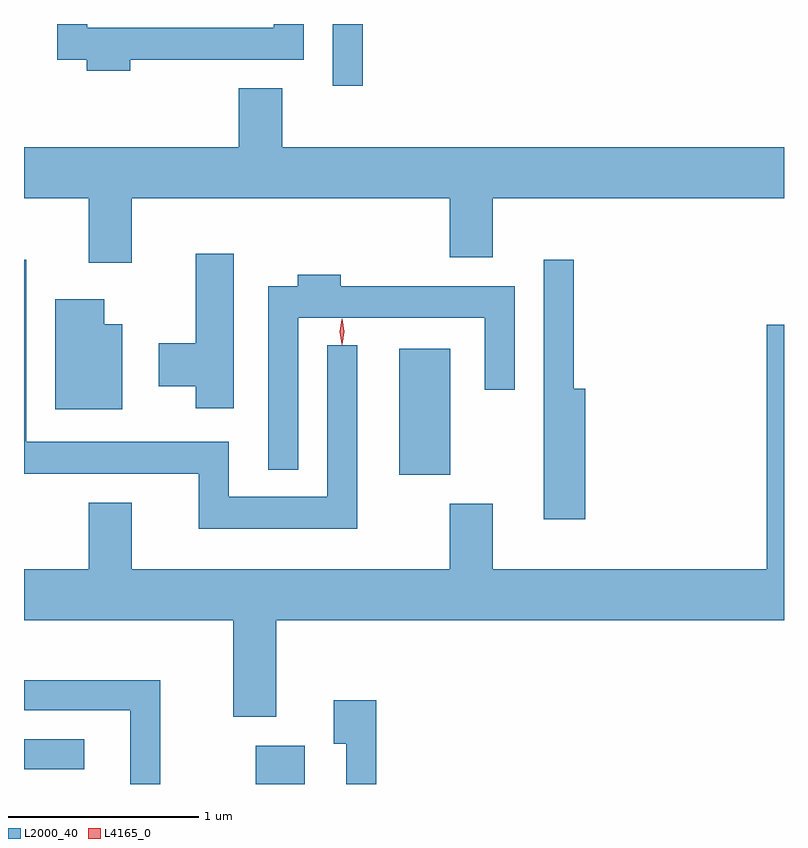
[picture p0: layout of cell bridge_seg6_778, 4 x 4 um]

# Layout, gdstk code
import gdstk
lib = gdstk.Library(unit=1e-6, precision=1e-09)
def R(c, l, rs):  # rectangles x0, y0, x1, y1
    for r in rs: c.add(gdstk.rectangle(r[:2], r[2:], *l))
def P(c, l, *ps):  # polygons
    for p in ps: c.add(gdstk.Polygon(p, *l))
L2000_40 = (2000, 40)
L4165_0 = (4165, 0)

bridge_seg6_778 = lib.new_cell('bridge_seg6_778')
R(bridge_seg6_778, L2000_40, [(549.721,1589.133,549.979,1589.334), (548.501,1589.211,548.818,1589.369), (550.476,1590.761,550.744,1591.424), (550.126,1592.808,550.284,1593.133)])
P(bridge_seg6_778, L2000_40, [(549.059,1592.946),(549.974,1592.946),(549.974,1593.133),(549.816,1593.133),(549.816,1593.114),(548.834,1593.114),(548.834,1593.133),(548.676,1593.133),(548.676,1592.946),(548.831,1592.946),(548.831,1592.886),(549.059,1592.886)],
  [(549.069,1592.216),(550.741,1592.216),(550.741,1591.906),(550.969,1591.906),(550.969,1592.216),(552.501,1592.216),(552.501,1592.484),(549.859,1592.484),(549.859,1592.794),(549.631,1592.794),(549.631,1592.484),(548.501,1592.484),(548.501,1592.216),(548.841,1592.216),(548.841,1591.876),(549.069,1591.876)],
  [(549.604,1591.924),(549.406,1591.924),(549.406,1591.454),(549.211,1591.454),(549.211,1591.226),(549.406,1591.226),(549.406,1591.111),(549.604,1591.111)],
  [(550.254,1591.443),(550.096,1591.443),(550.096,1590.644),(549.579,1590.644),(549.579,1590.934),(548.514,1590.934),(548.514,1591.893),(548.501,1591.893),(548.501,1590.766),(549.421,1590.766),(549.421,1590.476),(550.254,1590.476)],
  [(551.454,1591.214),(551.394,1591.214),(551.394,1591.893),(551.236,1591.893),(551.236,1590.526),(551.454,1590.526)],
  [(549.944,1591.586),(550.926,1591.586),(550.926,1591.208),(551.084,1591.208),(551.084,1591.754),(550.169,1591.754),(550.169,1591.814),(549.941,1591.814),(549.941,1591.754),(549.786,1591.754),(549.786,1590.788),(549.944,1590.788)],
  [(549.019,1591.554),(548.924,1591.554),(548.924,1591.684),(548.666,1591.684),(548.666,1591.106),(549.019,1591.106)],
  [(549.829,1589.996),(552.501,1589.996),(552.501,1591.549),(552.411,1591.549),(552.411,1590.264),(550.969,1590.264),(550.969,1590.609),(550.741,1590.609),(550.741,1590.264),(549.069,1590.264),(549.069,1590.614),(548.841,1590.614),(548.841,1590.264),(548.501,1590.264),(548.501,1589.996),(549.601,1589.996),(549.601,1589.486),(549.829,1589.486)],
  [(549.219,1589.679),(548.501,1589.679),(548.501,1589.521),(549.061,1589.521),(549.061,1589.133),(549.219,1589.133)],
  [(550.354,1589.574),(550.131,1589.574),(550.131,1589.346),(550.196,1589.346),(550.196,1589.133),(550.354,1589.133)])
P(bridge_seg6_778, L4165_0, [(550.173,1591.447),(550.163,1591.514),(550.173,1591.58),(550.173,1591.58),(550.174,1591.58),(550.183,1591.514),(550.174,1591.447),(550.174,1591.447)],
  [(550.176,1591.444),(550.176,1591.444),(550.166,1591.513),(550.176,1591.582),(550.176,1591.583),(550.177,1591.582),(550.186,1591.513),(550.177,1591.444)])

lib.write_gds('bridge_seg6_778.gds')
